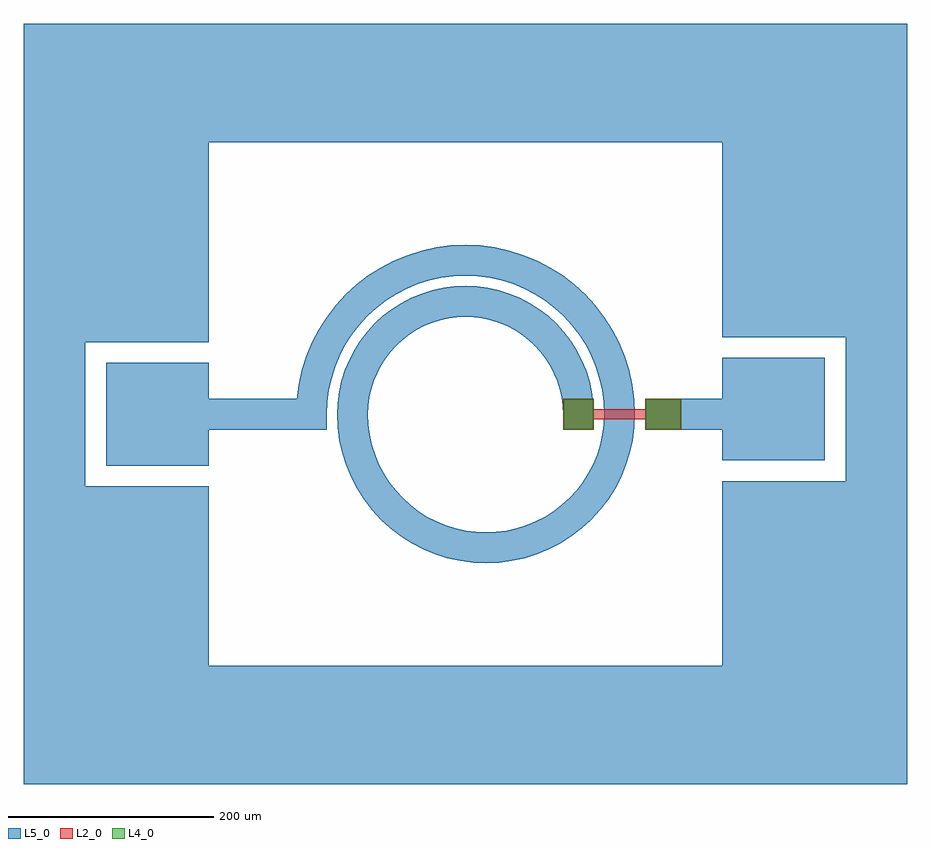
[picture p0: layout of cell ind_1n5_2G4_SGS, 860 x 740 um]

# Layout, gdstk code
import gdstk
lib = gdstk.Library(unit=1e-6, precision=5e-10)
def R(c, l, rs):  # rectangles x0, y0, x1, y1
    for r in rs: c.add(gdstk.rectangle(r[:2], r[2:], *l))
def P(c, l, *ps):  # polygons
    for p in ps: c.add(gdstk.Polygon(p, *l))
L2_0 = (2, 0)
L4_0 = (4, 0)
L5_0 = (5, 0)

ind_1n5_2g4_sgs = lib.new_cell('ind_1n5_2G4_SGS')
R(ind_1n5_2g4_sgs, L2_0, [(320,20,350,50), (400,20,435,50), (320,30,435,40)])
R(ind_1n5_2g4_sgs, L4_0, [(320.5,20.5,349.5,49.5), (400.5,20.5,434.5,49.5)])
R(ind_1n5_2g4_sgs, L5_0, [(-205,-325,655,-210), (-205,-255,-25,-35), (475,-250,655,-30), (-205,-75,-145,140), (595,-75,655,140), (-125,-15,-25,85), (475,-10,575,90), (-35,20,90,50), (320,20,350,50), (400,20,485,50), (-205,105,-25,325), (475,110,655,330), (-205,300,655,415)])
P(ind_1n5_2g4_sgs, L5_0, [(360,35),(390,35),(389.372,49.3805),(387.4935,63.652),(384.378,77.705),(380.0495,91.4335),(374.541,104.732),(367.894,117.5),(360.16,129.64),(351.3975,141.06),(341.6725,151.6725),(331.06,161.3975),(319.64,170.16),(307.5,177.894),(294.732,184.541),(281.4335,190.0495),(267.705,194.378),(253.652,197.4935),(239.3805,199.372),(225,200),(210.6195,199.372),(196.348,197.4935),(182.295,194.378),(168.5665,190.0495),(155.268,184.541),(142.5,177.894),(130.36,170.16),(118.94,161.3975),(108.3275,151.6725),(98.6025,141.06),(89.84,129.64),(82.106,117.5),(75.459,104.732),(69.9505,91.4335),(65.622,77.705),(62.5065,63.652),(60.628,49.3805),(60,35),(90,35),(90.5135,46.766),(92.051,58.4425),(94.6,69.9405),(98.1415,81.1725),(102.6485,92.0535),(108.0865,102.5),(114.4145,112.433),(121.584,121.7765),(129.5405,130.4595),(138.2235,138.416),(147.567,145.5855),(157.5,151.9135),(167.9465,157.3515),(178.8275,161.8585),(190.0595,165.4),(201.5575,167.949),(213.234,169.4865),(225,170),(236.766,169.4865),(248.4425,167.949),(259.9405,165.4),(271.1725,161.8585),(282.0535,157.3515),(292.5,151.9135),(302.433,145.5855),(311.7765,138.416),(320.4595,130.4595),(328.416,121.7765),(335.5855,112.433),(341.9135,102.5),(347.3515,92.0535),(351.8585,81.1725),(355.4,69.9405),(357.949,58.4425),(359.4865,46.766)],
  [(320,35),(350,35),(349.5245,45.8945),(348.101,56.706),(345.7405,67.3525),(342.4615,77.7525),(338.2885,87.8275),(333.253,97.5),(327.394,106.697),(320.7555,115.3485),(313.3885,123.3885),(305.3485,130.7555),(296.697,137.394),(287.5,143.253),(277.8275,148.2885),(267.7525,152.4615),(257.3525,155.7405),(246.706,158.101),(235.8945,159.5245),(225,160),(214.1055,159.5245),(203.294,158.101),(192.6475,155.7405),(182.2475,152.4615),(172.1725,148.2885),(162.5,143.253),(153.303,137.394),(144.6515,130.7555),(136.6115,123.3885),(129.2445,115.3485),(122.606,106.697),(116.747,97.5),(111.7115,87.8275),(107.5385,77.7525),(104.2595,67.3525),(101.899,56.706),(100.4755,45.8945),(100,35),(130,35),(130.3615,43.28),(131.4435,51.4965),(133.237,59.588),(135.729,67.492),(138.901,75.1485),(142.7275,82.5),(147.1805,89.49),(152.226,96.065),(157.825,102.175),(163.935,107.774),(170.51,112.8195),(177.5,117.2725),(184.8515,121.099),(192.508,124.271),(200.412,126.763),(208.5035,128.5565),(216.72,129.6385),(225,130),(233.28,129.6385),(241.4965,128.5565),(249.588,126.763),(257.492,124.271),(265.1485,121.099),(272.5,117.2725),(279.49,112.8195),(286.065,107.774),(292.175,102.175),(297.774,96.065),(302.8195,89.49),(307.2725,82.5),(311.099,75.1485),(314.271,67.492),(316.763,59.588),(318.5565,51.4965),(319.6385,43.28)],
  [(360,35),(390,35),(389.448,22.3625),(387.797,9.821),(385.059,-2.529),(381.2555,-14.593),(376.4145,-26.2795),(370.5735,-37.5),(363.777,-48.1685),(356.0765,-58.204),(347.5305,-67.5305),(338.204,-76.0765),(328.1685,-83.777),(317.5,-90.5735),(306.2795,-96.4145),(294.593,-101.2555),(282.529,-105.059),(270.179,-107.797),(257.6375,-109.448),(245,-110),(232.3625,-109.448),(219.821,-107.797),(207.471,-105.059),(195.407,-101.2555),(183.7205,-96.4145),(172.5,-90.5735),(161.8315,-83.777),(151.796,-76.0765),(142.4695,-67.5305),(133.9235,-58.204),(126.223,-48.1685),(119.4265,-37.5),(113.5855,-26.2795),(108.7445,-14.593),(104.941,-2.529),(102.203,9.821),(100.552,22.3625),(100,35),(130,35),(130.4375,24.977),(131.747,15.0305),(133.9185,5.236),(136.9355,-4.3325),(140.7745,-13.601),(145.407,-22.5),(150.7975,-30.9615),(156.905,-38.9205),(163.6825,-46.3175),(171.0795,-53.095),(179.0385,-59.2025),(187.5,-64.593),(196.399,-69.2255),(205.6675,-73.0645),(215.236,-76.0815),(225.0305,-78.253),(234.977,-79.5625),(245,-80),(255.023,-79.5625),(264.9695,-78.253),(274.764,-76.0815),(284.3325,-73.0645),(293.601,-69.2255),(302.5,-64.593),(310.9615,-59.2025),(318.9205,-53.095),(326.3175,-46.3175),(333.095,-38.9205),(339.2025,-30.9615),(344.593,-22.5),(349.2255,-13.601),(353.0645,-4.3325),(356.0815,5.236),(358.253,15.0305),(359.5625,24.977)])

lib.write_gds('ind_1n5_2G4_SGS.gds')
